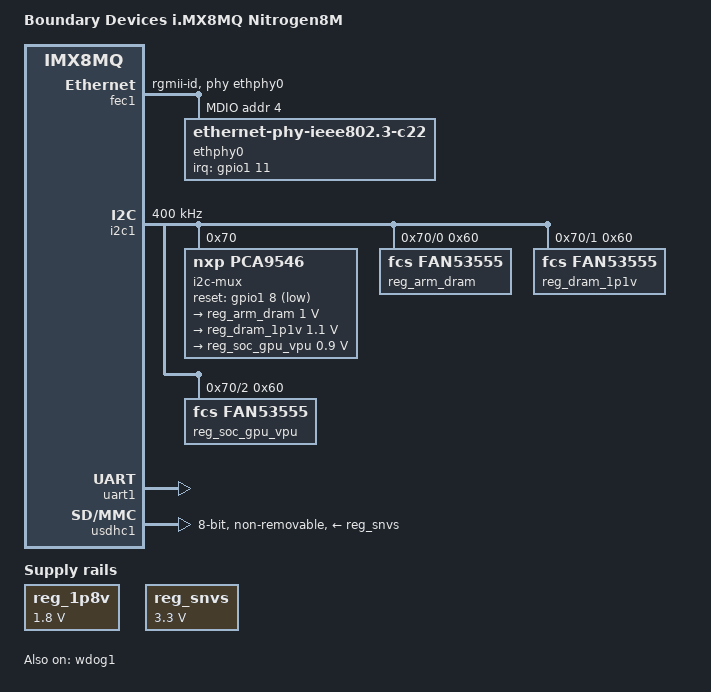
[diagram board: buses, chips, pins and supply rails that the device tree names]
// SPDX-License-Identifier: (GPL-2.0+ OR MIT)
/*
 * Copyright 2018 Boundary Devices
 * Copyright 2021 Lucas Stach <dev@lynxeye.de>
 */

#include "imx8mq.dtsi"

/ {
	model = "Boundary Devices i.MX8MQ Nitrogen8M";
	compatible = "boundary,imx8mq-nitrogen8m-som", "fsl,imx8mq";

	chosen {
		stdout-path = &uart1;
	};

	reg_1p8v: regulator-fixed-1v8 {
		compatible = "regulator-fixed";
		regulator-name = "1P8V";
		regulator-min-microvolt = <1800000>;
		regulator-max-microvolt = <1800000>;
	};

	reg_snvs: regulator-fixed-snvs {
		compatible = "regulator-fixed";
		regulator-name = "VDD_SNVS";
		regulator-min-microvolt = <3300000>;
		regulator-max-microvolt = <3300000>;
	};
};

&{/opp-table/opp-800000000} {
	opp-microvolt = <1000000>;
};

&{/opp-table/opp-1000000000} {
	opp-microvolt = <1000000>;
};

&A53_0 {
	cpu-supply = <&reg_arm_dram>;
};

&A53_1 {
	cpu-supply = <&reg_arm_dram>;
};

&A53_2 {
	cpu-supply = <&reg_arm_dram>;
};

&A53_3 {
	cpu-supply = <&reg_arm_dram>;
};

&fec1 {
	pinctrl-names = "default";
	pinctrl-0 = <&pinctrl_fec1>;
	phy-mode = "rgmii-id";
	phy-handle = <&ethphy0>;
	fsl,magic-packet;

	mdio {
		#address-cells = <1>;
		#size-cells = <0>;

		ethphy0: ethernet-phy@4 {
			compatible = "ethernet-phy-ieee802.3-c22";
			reg = <4>;
			interrupt-parent = <&gpio1>;
			interrupts = <11 IRQ_TYPE_LEVEL_LOW>;
		};
	};
};

&i2c1 {
	clock-frequency = <400000>;
	pinctrl-names = "default";
	pinctrl-0 = <&pinctrl_i2c1>;
	status = "okay";

	i2c-mux@70 {
		compatible = "nxp,pca9546";
		pinctrl-names = "default";
		pinctrl-0 = <&pinctrl_i2c1_pca9546>;
		reg = <0x70>;
		reset-gpios = <&gpio1 8 GPIO_ACTIVE_LOW>;
		#address-cells = <1>;
		#size-cells = <0>;

		i2c1a: i2c@0 {
			reg = <0>;
			#address-cells = <1>;
			#size-cells = <0>;

			reg_arm_dram: regulator@60 {
				compatible = "fcs,fan53555";
				reg = <0x60>;
				regulator-name = "VDD_ARM_DRAM_1V";
				regulator-min-microvolt = <1000000>;
				regulator-max-microvolt = <1000000>;
				regulator-always-on;
			};
		};

		i2c1b: i2c@1 {
			reg = <1>;
			#address-cells = <1>;
			#size-cells = <0>;

			reg_dram_1p1v: regulator@60 {
				compatible = "fcs,fan53555";
				reg = <0x60>;
				regulator-name = "NVCC_DRAM_1P1V";
				regulator-min-microvolt = <1100000>;
				regulator-max-microvolt = <1100000>;
				regulator-always-on;
			};
		};

		i2c1c: i2c@2 {
			reg = <2>;
			#address-cells = <1>;
			#size-cells = <0>;

			reg_soc_gpu_vpu: regulator@60 {
				compatible = "fcs,fan53555";
				reg = <0x60>;
				regulator-name = "VDD_SOC_GPU_VPU";
				regulator-min-microvolt = <900000>;
				regulator-max-microvolt = <900000>;
				regulator-always-on;
			};
		};

		i2c1d: i2c@3 {
			reg = <3>;
			#address-cells = <1>;
			#size-cells = <0>;
		};
	};
};

&pgc_gpu {
	power-supply = <&reg_soc_gpu_vpu>;
};

&pgc_vpu {
	power-supply = <&reg_soc_gpu_vpu>;
};

&uart1 {
	pinctrl-names = "default";
	pinctrl-0 = <&pinctrl_uart1>;
	status = "okay";
};

&usdhc1 {
	assigned-clocks = <&clk IMX8MQ_CLK_USDHC1>;
	assigned-clock-rates = <400000000>;
	pinctrl-names = "default", "state_100mhz", "state_200mhz";
	pinctrl-0 = <&pinctrl_usdhc1>;
	pinctrl-1 = <&pinctrl_usdhc1_100mhz>;
	pinctrl-2 = <&pinctrl_usdhc1_200mhz>;
	vqmmc-supply = <&reg_1p8v>;
	vmmc-supply = <&reg_snvs>;
	bus-width = <8>;
	non-removable;
	no-mmc-hs400;
	no-sdio;
	no-sd;
	status = "okay";
};

&wdog1 {
	pinctrl-names = "default";
	pinctrl-0 = <&pinctrl_wdog>;
	fsl,ext-reset-output;
	status = "okay";
};

&iomuxc {
	pinctrl_fec1: fec1grp {
		fsl,pins = <
			MX8MQ_IOMUXC_ENET_MDC_ENET1_MDC			0x3
			MX8MQ_IOMUXC_ENET_MDIO_ENET1_MDIO		0x23
			MX8MQ_IOMUXC_ENET_TX_CTL_ENET1_RGMII_TX_CTL	0x1f
			MX8MQ_IOMUXC_ENET_TXC_ENET1_RGMII_TXC		0x1f
			MX8MQ_IOMUXC_ENET_TD0_ENET1_RGMII_TD0		0x1f
			MX8MQ_IOMUXC_ENET_TD1_ENET1_RGMII_TD1		0x1f
			MX8MQ_IOMUXC_ENET_TD2_ENET1_RGMII_TD2		0x1f
			MX8MQ_IOMUXC_ENET_TD3_ENET1_RGMII_TD3		0x1f
			MX8MQ_IOMUXC_ENET_RX_CTL_ENET1_RGMII_RX_CTL	0x91
			MX8MQ_IOMUXC_ENET_RXC_ENET1_RGMII_RXC		0x91
			MX8MQ_IOMUXC_ENET_RD0_ENET1_RGMII_RD0		0x91
			MX8MQ_IOMUXC_ENET_RD1_ENET1_RGMII_RD1		0x91
			MX8MQ_IOMUXC_ENET_RD2_ENET1_RGMII_RD2		0x91
			MX8MQ_IOMUXC_ENET_RD3_ENET1_RGMII_RD3		0x91
			MX8MQ_IOMUXC_GPIO1_IO09_GPIO1_IO9		0x19
			MX8MQ_IOMUXC_GPIO1_IO11_GPIO1_IO11		0x59
		>;
	};

	pinctrl_i2c1: i2c1grp {
		fsl,pins = <
			MX8MQ_IOMUXC_I2C1_SCL_I2C1_SCL			0x4000007f
			MX8MQ_IOMUXC_I2C1_SDA_I2C1_SDA			0x4000007f
		>;
	};

	pinctrl_i2c1_pca9546: i2c1-pca9546grp {
		fsl,pins = <
			MX8MQ_IOMUXC_GPIO1_IO08_GPIO1_IO8		0x49
		>;
	};

	pinctrl_uart1: uart1grp {
		fsl,pins = <
			MX8MQ_IOMUXC_UART1_RXD_UART1_DCE_RX		0x45
			MX8MQ_IOMUXC_UART1_TXD_UART1_DCE_TX		0x45
		>;
	};

	pinctrl_usdhc1: usdhc1grp {
		fsl,pins = <
			MX8MQ_IOMUXC_SD1_CLK_USDHC1_CLK			0x83
			MX8MQ_IOMUXC_SD1_CMD_USDHC1_CMD			0xc3
			MX8MQ_IOMUXC_SD1_DATA0_USDHC1_DATA0		0xc3
			MX8MQ_IOMUXC_SD1_DATA1_USDHC1_DATA1		0xc3
			MX8MQ_IOMUXC_SD1_DATA2_USDHC1_DATA2		0xc3
			MX8MQ_IOMUXC_SD1_DATA3_USDHC1_DATA3		0xc3
			MX8MQ_IOMUXC_SD1_DATA4_USDHC1_DATA4		0xc3
			MX8MQ_IOMUXC_SD1_DATA5_USDHC1_DATA5		0xc3
			MX8MQ_IOMUXC_SD1_DATA6_USDHC1_DATA6		0xc3
			MX8MQ_IOMUXC_SD1_DATA7_USDHC1_DATA7		0xc3
			MX8MQ_IOMUXC_SD1_RESET_B_USDHC1_RESET_B		0xc1
		>;
	};

	pinctrl_usdhc1_100mhz: usdhc1-100mhzgrp {
		fsl,pins = <
			MX8MQ_IOMUXC_SD1_CLK_USDHC1_CLK			0x8d
			MX8MQ_IOMUXC_SD1_CMD_USDHC1_CMD			0xcd
			MX8MQ_IOMUXC_SD1_DATA0_USDHC1_DATA0		0xcd
			MX8MQ_IOMUXC_SD1_DATA1_USDHC1_DATA1		0xcd
			MX8MQ_IOMUXC_SD1_DATA2_USDHC1_DATA2		0xcd
			MX8MQ_IOMUXC_SD1_DATA3_USDHC1_DATA3		0xcd
			MX8MQ_IOMUXC_SD1_DATA4_USDHC1_DATA4		0xcd
			MX8MQ_IOMUXC_SD1_DATA5_USDHC1_DATA5		0xcd
			MX8MQ_IOMUXC_SD1_DATA6_USDHC1_DATA6		0xcd
			MX8MQ_IOMUXC_SD1_DATA7_USDHC1_DATA7		0xcd
		>;
	};

	pinctrl_usdhc1_200mhz: usdhc1-200mhzgrp {
		fsl,pins = <
			MX8MQ_IOMUXC_SD1_CLK_USDHC1_CLK			0x9f
			MX8MQ_IOMUXC_SD1_CMD_USDHC1_CMD			0xdf
			MX8MQ_IOMUXC_SD1_DATA0_USDHC1_DATA0		0xdf
			MX8MQ_IOMUXC_SD1_DATA1_USDHC1_DATA1		0xdf
			MX8MQ_IOMUXC_SD1_DATA2_USDHC1_DATA2		0xdf
			MX8MQ_IOMUXC_SD1_DATA3_USDHC1_DATA3		0xdf
			MX8MQ_IOMUXC_SD1_DATA4_USDHC1_DATA4		0xdf
			MX8MQ_IOMUXC_SD1_DATA5_USDHC1_DATA5		0xdf
			MX8MQ_IOMUXC_SD1_DATA6_USDHC1_DATA6		0xdf
			MX8MQ_IOMUXC_SD1_DATA7_USDHC1_DATA7		0xdf
		>;
	};

	pinctrl_wdog: wdoggrp {
		fsl,pins = <
			MX8MQ_IOMUXC_GPIO1_IO02_WDOG1_WDOG_B		0xc6
		>;
	};
};
